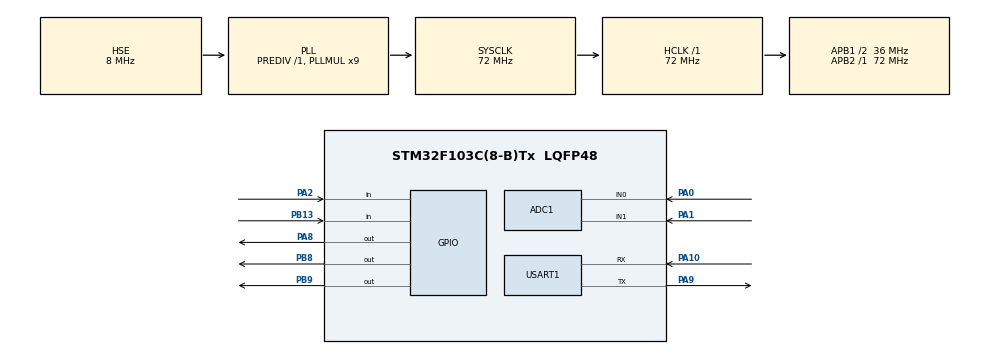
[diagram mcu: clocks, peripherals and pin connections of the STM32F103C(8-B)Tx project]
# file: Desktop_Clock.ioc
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ADC1.Channel-0\#ChannelRegularConversion=ADC_CHANNEL_1
ADC1.Channel-2\#ChannelRegularConversion=ADC_CHANNEL_0
ADC1.ContinuousConvMode=ENABLE
ADC1.ExternalTrigConv=ADC_SOFTWARE_START
ADC1.NbrOfConversion=2
ADC1.NbrOfConversionFlag=1
ADC1.Rank-0\#ChannelRegularConversion=1
ADC1.Rank-2\#ChannelRegularConversion=2
ADC1.SamplingTime-0\#ChannelRegularConversion=ADC_SAMPLETIME_239CYCLES_5
ADC1.SamplingTime-2\#ChannelRegularConversion=ADC_SAMPLETIME_239CYCLES_5
ADC1.master=1
Dma.ADC1.0.Direction=DMA_PERIPH_TO_MEMORY
Dma.ADC1.0.Instance=DMA1_Channel1
Dma.ADC1.0.MemDataAlignment=DMA_MDATAALIGN_HALFWORD
Dma.ADC1.0.MemInc=DMA_MINC_ENABLE
Dma.ADC1.0.Mode=DMA_CIRCULAR
Dma.ADC1.0.PeriphDataAlignment=DMA_PDATAALIGN_HALFWORD
Dma.ADC1.0.PeriphInc=DMA_PINC_DISABLE
Dma.ADC1.0.Priority=DMA_PRIORITY_LOW
Dma.Request0=ADC1
FREERTOS.BinarySemaphores01=BinSem_OledMenu,Dynamic,NULL,Depleted
FREERTOS.Tasks01=Task_BootAnimat,24,128,AppTask_BootAnimation,Default,NULL,Dynamic,NULL,NULL;Task_ESP8266,8,128,AppTask_ESP8266,Default,NULL,Dynamic,NULL,NULL;Task_OledMenu,8,128,AppTask_OledMenu,Default,NULL,Dynamic,NULL,NULL
Mcu.Family=STM32F1
Mcu.Name=STM32F103C(8-B)Tx
Mcu.Package=LQFP48
NVIC.ADC1_2_IRQn=true\:5\:0\:false\:false\:true\:true\:true\:true\:true
NVIC.DMA1_Channel1_IRQn=true\:5\:0\:false\:false\:true\:true\:false\:true\:true
NVIC.PriorityGroup=NVIC_PRIORITYGROUP_4
NVIC.TIM2_IRQn=true\:5\:0\:false\:false\:true\:true\:true\:true\:true
NVIC.TIM4_IRQn=true\:0\:0\:true\:false\:true\:false\:false\:true\:true
NVIC.TimeBase=TIM4_IRQn
NVIC.TimeBaseIP=TIM4
NVIC.USART1_IRQn=true\:5\:0\:false\:false\:true\:true\:true\:true\:true
PA0-WKUP.Signal=ADCx_IN0
PA1.Signal=ADCx_IN1
PA10.Mode=Asynchronous
PA10.Signal=USART1_RX
PA13.Mode=Serial_Wire
PA13.Signal=SYS_JTMS-SWDIO
PA14.Mode=Serial_Wire
PA14.Signal=SYS_JTCK-SWCLK
PA2.GPIO_PuPd=GPIO_PULLUP
PA2.Signal=GPIO_Input
PA8.Signal=GPIO_Output
PA9.Mode=Asynchronous
PA9.Signal=USART1_TX
PB13.GPIO_PuPd=GPIO_PULLUP
PB13.Signal=GPIO_Input
PB8.GPIO_ModeDefaultOutputPP=GPIO_MODE_OUTPUT_OD
PB8.GPIO_PuPd=GPIO_NOPULL
PB8.Signal=GPIO_Output
PB9.GPIO_ModeDefaultOutputPP=GPIO_MODE_OUTPUT_OD
PB9.GPIO_PuPd=GPIO_NOPULL
PB9.Signal=GPIO_Output
PD0-OSC_IN.Mode=HSE-External-Oscillator
PD0-OSC_IN.Signal=RCC_OSC_IN
PD1-OSC_OUT.Mode=HSE-External-Oscillator
PD1-OSC_OUT.Signal=RCC_OSC_OUT
ProjectManager.HeapSize=0x200
ProjectManager.StackSize=0x400
ProjectManager.TargetToolchain=MDK-ARM V5.32
RCC.ADCPresc=RCC_ADCPCLK2_DIV8
RCC.AHBFreq_Value=72000000
RCC.APB1CLKDivider=RCC_HCLK_DIV2
RCC.APB1Freq_Value=36000000
RCC.APB1TimFreq_Value=72000000
RCC.APB2Freq_Value=72000000
RCC.APB2TimFreq_Value=72000000
RCC.HCLKFreq_Value=72000000
RCC.PLLMUL=RCC_PLL_MUL9
RCC.PLLSourceVirtual=RCC_PLLSOURCE_HSE
RCC.SYSCLKFreq_VALUE=72000000
RCC.SYSCLKSource=RCC_SYSCLKSOURCE_PLLCLK
RCC.USBFreq_Value=72000000
SH.ADCx_IN0.0=ADC1_IN0,IN0
SH.ADCx_IN1.0=ADC1_IN1,IN1
TIM2.Period=1000-1
TIM2.Prescaler=72-1
USART1.VirtualMode=VM_ASYNC
VP_FREERTOS_VS_CMSIS_V2.Mode=CMSIS_V2
VP_SYS_VS_tim4.Mode=TIM4
VP_TIM2_VS_ClockSourceINT.Mode=Internal
board=custom

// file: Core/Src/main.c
/* USER CODE BEGIN Header */
/**
  ******************************************************************************
  * @file           : main.c
  * @brief          : Main program body
  ******************************************************************************
  * @attention
  *
  * Copyright (c) 2024 STMicroelectronics.
  * All rights reserved.
  *
  * This software is licensed under terms that can be found in the LICENSE file
  * in the root directory of this software component.
  * If no LICENSE file comes with this software, it is provided AS-IS.
  *
  ******************************************************************************
  */
/* USER CODE END Header */
#include "main.h"
#include "cmsis_os.h"
#include "adc.h"
#include "dma.h"
#include "tim.h"
#include "usart.h"
#include "gpio.h"

void SystemClock_Config(void);
void MX_FREERTOS_Init(void);

int main(void)
{

  /* MCU Configuration--------------------------------------------------------*/

  /* Reset of all peripherals, Initializes the Flash interface and the Systick. */
  HAL_Init();

  /* Configure the system clock */
  SystemClock_Config();

  /* Initialize all configured peripherals */
  MX_GPIO_Init();
  MX_DMA_Init();
  MX_ADC1_Init();
  MX_TIM2_Init();
  MX_USART1_UART_Init();
  /* USER CODE BEGIN 2 */
	Timer_Init();
	Uart_Init();
	OLED_Init();
	RockerADC_Init();

  /* USER CODE END 2 */

  /* Init scheduler */
  osKernelInitialize();

  /* Call init function for freertos objects (in cmsis_os2.c) */
  MX_FREERTOS_Init();

  /* Start scheduler */
  osKernelStart();

  /* We should never get here as control is now taken by the scheduler */

  /* Infinite loop */
  while (1)
  {

  }
}

void SystemClock_Config(void)
{
  RCC_OscInitTypeDef RCC_OscInitStruct = {0};
  RCC_ClkInitTypeDef RCC_ClkInitStruct = {0};
  RCC_PeriphCLKInitTypeDef PeriphClkInit = {0};

  /** Initializes the RCC Oscillators according to the specified parameters
  * in the RCC_OscInitTypeDef structure.
  */
  RCC_OscInitStruct.OscillatorType = RCC_OSCILLATORTYPE_HSE;
  RCC_OscInitStruct.HSEState = RCC_HSE_ON;
  RCC_OscInitStruct.HSEPredivValue = RCC_HSE_PREDIV_DIV1;
  RCC_OscInitStruct.HSIState = RCC_HSI_ON;
  RCC_OscInitStruct.PLL.PLLState = RCC_PLL_ON;
  RCC_OscInitStruct.PLL.PLLSource = RCC_PLLSOURCE_HSE;
  RCC_OscInitStruct.PLL.PLLMUL = RCC_PLL_MUL9;
  if (HAL_RCC_OscConfig(&RCC_OscInitStruct) != HAL_OK)
  {
    Error_Handler();
  }

  /** Initializes the CPU, AHB and APB buses clocks
  */
  RCC_ClkInitStruct.ClockType = RCC_CLOCKTYPE_HCLK|RCC_CLOCKTYPE_SYSCLK
                              |RCC_CLOCKTYPE_PCLK1|RCC_CLOCKTYPE_PCLK2;
  RCC_ClkInitStruct.SYSCLKSource = RCC_SYSCLKSOURCE_PLLCLK;
  RCC_ClkInitStruct.AHBCLKDivider = RCC_SYSCLK_DIV1;
  RCC_ClkInitStruct.APB1CLKDivider = RCC_HCLK_DIV2;
  RCC_ClkInitStruct.APB2CLKDivider = RCC_HCLK_DIV1;

  if (HAL_RCC_ClockConfig(&RCC_ClkInitStruct, FLASH_LATENCY_2) != HAL_OK)
  {
    Error_Handler();
  }
  PeriphClkInit.PeriphClockSelection = RCC_PERIPHCLK_ADC;
  PeriphClkInit.AdcClockSelection = RCC_ADCPCLK2_DIV8;
  if (HAL_RCCEx_PeriphCLKConfig(&PeriphClkInit) != HAL_OK)
  {
    Error_Handler();
  }
}

void HAL_TIM_PeriodElapsedCallback(TIM_HandleTypeDef *htim)
{
  /* USER CODE BEGIN Callback 0 */
	if (htim->Instance == TIM2)
	{
		Error_Time++;
		Time_Count++;
	}

  /* USER CODE END Callback 0 */
  if (htim->Instance == TIM4) {
    HAL_IncTick();
  }
}

void Error_Handler(void)
{
  __disable_irq();
  while (1)
  {
  }
}

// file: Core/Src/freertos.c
/* USER CODE BEGIN Header */
/**
  ******************************************************************************
  * File Name          : freertos.c
  * Description        : Code for freertos applications
  ******************************************************************************
  * @attention
  *
  * Copyright (c) 2024 STMicroelectronics.
  * All rights reserved.
  *
  * This software is licensed under terms that can be found in the LICENSE file
  * in the root directory of this software component.
  * If no LICENSE file comes with this software, it is provided AS-IS.
  *
  ******************************************************************************
  */
/* USER CODE END Header */

#include "FreeRTOS.h"
#include "task.h"
#include "main.h"
#include "cmsis_os.h"

/* Definitions for Task_BootAnimat */
osThreadId_t Task_BootAnimatHandle;
const osThreadAttr_t Task_BootAnimat_attributes = {
  .name = "Task_BootAnimat",
  .stack_size = 128 * 4,
  .priority = (osPriority_t) osPriorityNormal,
};
/* Definitions for Task_ESP8266 */
osThreadId_t Task_ESP8266Handle;
const osThreadAttr_t Task_ESP8266_attributes = {
  .name = "Task_ESP8266",
  .stack_size = 128 * 4,
  .priority = (osPriority_t) osPriorityLow,
};
/* Definitions for Task_OledMenu */
osThreadId_t Task_OledMenuHandle;
const osThreadAttr_t Task_OledMenu_attributes = {
  .name = "Task_OledMenu",
  .stack_size = 128 * 4,
  .priority = (osPriority_t) osPriorityLow,
};
/* Definitions for BinSem_OledMenu */
osSemaphoreId_t BinSem_OledMenuHandle;
const osSemaphoreAttr_t BinSem_OledMenu_attributes = {
  .name = "BinSem_OledMenu"
};

void AppTask_BootAnimation(void *argument);
void AppTask_ESP8266(void *argument);
void AppTask_OledMenu(void *argument);

void MX_FREERTOS_Init(void); /* (MISRA C 2004 rule 8.1) */

void MX_FREERTOS_Init(void) {

  /* Create the semaphores(s) */
  /* creation of BinSem_OledMenu */
  BinSem_OledMenuHandle = osSemaphoreNew(1, 0, &BinSem_OledMenu_attributes);

  /* Create the thread(s) */
  /* creation of Task_BootAnimat */
  Task_BootAnimatHandle = osThreadNew(AppTask_BootAnimation, NULL, &Task_BootAnimat_attributes);

  /* creation of Task_ESP8266 */
  Task_ESP8266Handle = osThreadNew(AppTask_ESP8266, NULL, &Task_ESP8266_attributes);

  /* creation of Task_OledMenu */
  Task_OledMenuHandle = osThreadNew(AppTask_OledMenu, NULL, &Task_OledMenu_attributes);

}

void AppTask_BootAnimation(void *argument)
{
  /* USER CODE BEGIN AppTask_BootAnimation */

  /* Infinite loop */

  for(;;)
  {
		Boot_Animation();			// 开机动画
		Peripheral_Read();		// 按键/摇杆检测

		if (!BootNum)
		{
			ESP8266_GetTime();
			Time_Count = 0;
			vTaskDelay(pdMS_TO_TICKS(30000));
		}
		vTaskDelay(pdMS_TO_TICKS(1));
  }

  /* USER CODE END AppTask_BootAnimation */
}

void AppTask_ESP8266(void *argument)
{
  /* USER CODE BEGIN AppTask_ESP8266 */
	BootNum = 10;					// 开始开机动画
	ESP8266_Init();				// ESP8266初始化
	ESP8266_GetTime();		// 获取时间
	BootNum = 0;					// 关闭开机动画
	xSemaphoreGive(BinSem_OledMenuHandle);		// 释放信号量

  /* Infinite loop */
  for(;;)
  {
		Time_Keeping();		// 计时
    vTaskDelay(pdMS_TO_TICKS(1));
  }
  /* USER CODE END AppTask_ESP8266 */
}

void AppTask_OledMenu(void *argument)
{
  /* USER CODE BEGIN AppTask_OledMenu */
	xSemaphoreTake(BinSem_OledMenuHandle, portMAX_DELAY);		// 无限等待信号量

	/* Infinite loop */
  for(;;)
  {
		(CurrentMenu->Action)();		// 菜单运行
		if (OptionsFlag)						//判断是否反色显示
		{
			OledMenu_Inverse(MenuCursor);
		}
		else
		{
			OLED_Update();
		}
    vTaskDelay(pdMS_TO_TICKS(200));
  }
  /* USER CODE END AppTask_OledMenu */
}
